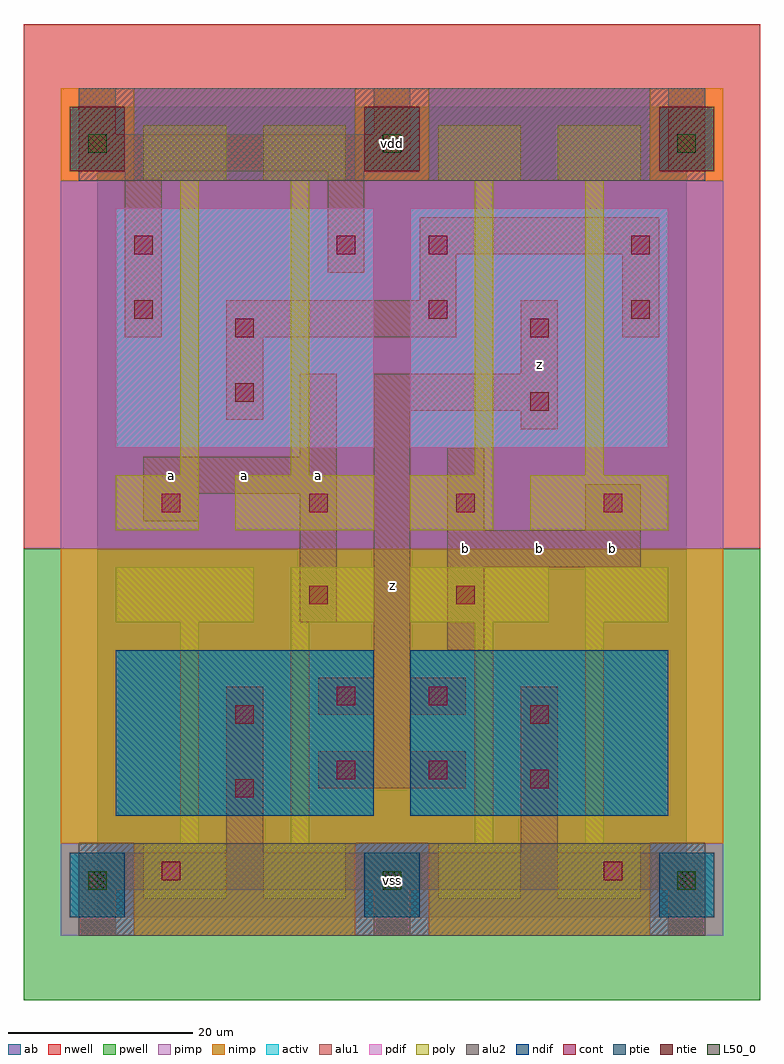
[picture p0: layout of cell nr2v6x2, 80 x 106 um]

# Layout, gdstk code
import gdstk
lib = gdstk.Library(unit=1e-6, precision=1e-09)
def R(c, l, rs):  # rectangles x0, y0, x1, y1
    for r in rs: c.add(gdstk.rectangle(r[:2], r[2:], *l))
def A(c, l, x, y, w, h, nx, ny, dx, dy):  # array of equal rectangles
    R(c, l, [(x+i*dx, y+j*dy, x+i*dx+w, y+j*dy+h) for i in range(nx) for j in range(ny)])
ndif = (3, 0)
pdif = (4, 0)
ntie = (5, 0)
ptie = (6, 0)
cont = (25, 0)
pwell = (41, 0)
nwell = (42, 0)
activ = (43, 0)
pimp = (44, 0)
nimp = (45, 0)
poly = (46, 0)
alu1 = (49, 0)
L50_0 = (50, 0)
alu2 = (51, 0)
ab = (63, 0)

nr2v6x2 = lib.new_cell('nr2v6x2')
R(nr2v6x2, ndif, [(2,11,30,29), (34,11,62,29)])
R(nr2v6x2, pdif, [(2,51,30,77), (34,51,62,77)])
A(nr2v6x2, ntie, -3, 81, 6, 7, 3, 1, 32, 0)
A(nr2v6x2, ptie, -3, 0, 6, 7, 3, 1, 32, 0)
A(nr2v6x2, cont, -1, 3, 2, 2, 3, 2, 32, 80)
A(nr2v6x2, cont, 7, 44, 2, 2, 4, 1, 16, 0)
R(nr2v6x2, cont, [(7,4,9,6), (55,4,57,6), (15,13,17,15), (47,14,49,16), (26,15,28,17), (36,15,38,17), (15,21,17,23), (47,21,49,23), (26,23,28,25), (36,23,38,25), (23,34,25,36), (39,34,41,36), (47,55,49,57), (15,56,17,58), (15,63,17,65), (47,63,49,65), (4,65,6,67), (36,65,38,67), (58,65,60,67), (4,72,6,74), (26,72,28,74), (36,72,38,74), (58,72,60,74)])
R(nr2v6x2, pwell, [(-8,-9,72,40)])
R(nr2v6x2, nwell, [(-8,40,72,97)])
A(nr2v6x2, activ, -3, 0, 6, 7, 3, 2, 32, 81)
R(nr2v6x2, activ, [(2,11,30,29), (34,11,62,29), (2,51,30,77), (34,51,62,77)])
A(nr2v6x2, pimp, -4, -2, 8, 10, 3, 1, 32, 0)
R(nr2v6x2, pimp, [(-4,40,68,80), (4,80,28,90), (36,80,60,90)])
A(nr2v6x2, nimp, -4, 80, 8, 10, 3, 1, 32, 0)
R(nr2v6x2, nimp, [(4,-2,28,8), (36,-2,60,8), (-4,8,68,40)])
R(nr2v6x2, poly, [(5,2,14,8), (18,2,27,8), (37,2,46,8), (50,2,59,8), (9,8,11,32), (21,8,23,32), (41,8,43,32), (53,8,55,32), (2,32,17,38), (21,32,30,38), (34,32,49,38), (53,32,62,38), (2,42,11,48), (15,42,30,48), (34,42,43,48), (47,42,62,48), (9,48,11,80), (21,48,23,80), (41,48,43,80), (53,48,55,80), (5,80,14,86), (18,80,27,86), (37,80,46,86), (50,80,59,86)])
A(nr2v6x2, alu1, -2, -2, 4, 5, 3, 1, 32, 0)
R(nr2v6x2, alu1, [(-2,3,66,7), (14,7,18,25), (46,7,50,25), (24,14,40,18), (30,18,34,22), (24,22,40,26), (30,26,34,55), (38,29,42,38), (22,32,26,46), (38,38,59,42), (38,42,42,51), (53,42,59,47), (5,43,11,46), (5,46,26,50), (22,50,26,59), (46,53,50,55), (14,54,18,63), (30,55,50,59), (46,59,50,67), (3,63,7,81), (14,63,39,67), (57,63,61,72), (35,67,39,72), (25,70,29,81), (35,72,61,76), (-2,81,34,85), (62,81,66,90), (-2,85,2,90), (30,85,34,90)])
A(nr2v6x2, L50_0, -1, 3, 2, 2, 3, 2, 32, 80)
R(nr2v6x2, alu2, [(-2,-2,66,8), (-2,80,66,90)])
R(nr2v6x2, ab, [(0,0,64,88)])
nr2v6x2.add(gdstk.Label('a', (8,48), layer=49, texttype=0))
nr2v6x2.add(gdstk.Label('a', (24,48), layer=49, texttype=0))
nr2v6x2.add(gdstk.Label('a', (16,48), layer=49, texttype=0))
nr2v6x2.add(gdstk.Label('z', (32,36), layer=49, texttype=0))
nr2v6x2.add(gdstk.Label('b', (40,40), layer=49, texttype=0))
nr2v6x2.add(gdstk.Label('b', (48,40), layer=49, texttype=0))
nr2v6x2.add(gdstk.Label('b', (56,40), layer=49, texttype=0))
nr2v6x2.add(gdstk.Label('z', (48,60), layer=49, texttype=0))
nr2v6x2.add(gdstk.Label('vss', (32,4), layer=51, texttype=0))
nr2v6x2.add(gdstk.Label('vdd', (32,84), layer=51, texttype=0))

lib.write_gds('nr2v6x2.gds')
